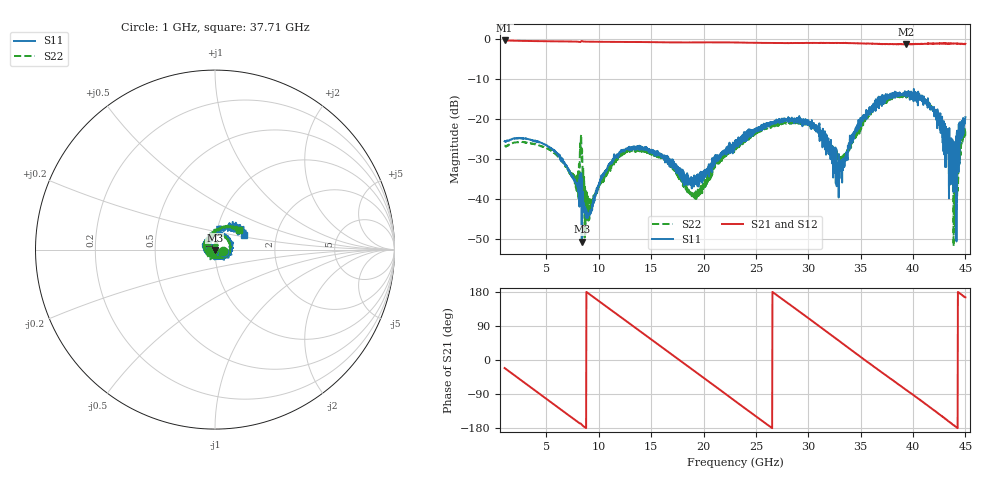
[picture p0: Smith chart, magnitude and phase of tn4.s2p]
!Keysight Technologies,N5247B,MY61255062,A.19.80.06
!Date: Tuesday, May 26, 2026 11:11:24
!Correction: S11(C  2-Port  )
!S21(C  2-Port  )
!S12(C  2-Port  )
!S22(C  2-Port  )
!S2P File: Measurements: S11, S21, S12, S22:
# Hz S  dB  R 50
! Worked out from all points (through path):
!   1601 points, 1 GHz to 45 GHz, reference 50 ohm
!   highest |S21| = -0.47 dB at 1 GHz (marker M1); lowest = -1.4 dB at 39.31 GHz (marker M2)
!   group delay of S21, straight-line fit = 56.3 ps
!   lowest |S11| = -50.5 dB at 8.37 GHz (marker M3), VSWR 1.01, Z = 49.8 - j0.235 ohm
!   |S11| at or under -10 dB: start of sweep to end of sweep
!   |S22| runs from -51.7 to -13.5 dB; largest |S21 - S12| = 0.02
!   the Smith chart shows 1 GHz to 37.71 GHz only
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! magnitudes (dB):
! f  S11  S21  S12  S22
! 1 GHz  -25.6  -0.5  -0.5  -26.7
! 5.537 GHz  -27.6  -0.7  -0.7  -28.1
! 7.848 GHz  -36.2  -0.7  -0.7  -34.3
! 8.342 GHz  -42.3  -0.6  -0.6  -27.2
! 8.37 GHz  -50.5  -0.6  -0.6  -30.4
! 8.672 GHz  -43.5  -0.8  -0.8  -36.9
! 8.947 GHz  -44.1  -0.8  -0.8  -39.3
! 12.11 GHz  -28.1  -0.9  -0.9  -28.4
! 15.69 GHz  -28.3  -0.9  -0.9  -29.6
! 19.09 GHz  -34.1  -1.0  -0.9  -38.3
! 23 GHz  -25.4  -1.0  -1.0  -27.8
! 26.99 GHz  -20.9  -1.1  -1.1  -21.7
! 30.34 GHz  -20.3  -1.1  -1.1  -21.5
! 33.01 GHz  -30.3  -1.1  -1.1  -29.6
! 35.02 GHz  -21.8  -1.2  -1.2  -21.2
! 37.69 GHz  -14.8  -1.4  -1.3  -14.7
! 39.31 GHz  -13.5  -1.4  -1.4  -13.9
! 42.39 GHz  -20.8  -1.3  -1.2  -19.4
! 43.3 GHz  -26.1  -1.3  -1.1  -25.0
! 44.01 GHz  -28.2  -1.2  -1.2  -45.6
! 44.59 GHz  -24.2  -1.3  -1.3  -26.6
! 45 GHz  -19.6  -1.3  -1.4  -24.1
